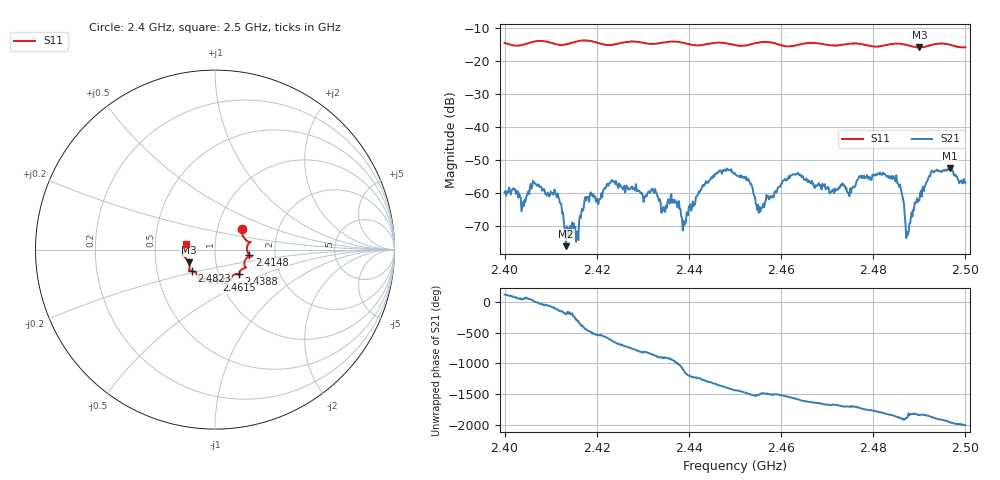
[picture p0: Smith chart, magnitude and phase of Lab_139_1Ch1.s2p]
# Hz S RI R 50
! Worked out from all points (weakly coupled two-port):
!   601 points, 2.4 GHz to 2.5 GHz, reference 50 ohm
!   highest |S21| = -52.29 dB at 2.4967 GHz (marker M1); lowest = -76.0 dB at 2.4133 GHz (marker M2)
!   lowest |S11| = -15.8 dB at 2.49 GHz (marker M3), VSWR 1.39, Z = 36.8 - j5.31 ohm
!   |S11| at or under -10 dB: start of sweep to end of sweep
!   S12 and S22 are empty: the file has one direction only
!   S11 on the Smith chart (normalised r, x): 2.4 GHz: 1.31, +0.32; 2.4148 GHz: 1.47, -0.10; 2.4388 GHz: 1.25, -0.36; 2.4615 GHz: 0.96, -0.34; 2.4823 GHz: 0.75, -0.18; 2.5 GHz: 0.72, +0.04
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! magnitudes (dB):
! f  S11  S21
! 2.4 GHz  -14.3  -59.7
! 2.4112 GHz  -14.8  -60.2
! 2.4133 GHz  -14.8  -76.0
! 2.4148 GHz  -14.2  -70.3
! 2.4167 GHz  -13.7  -65.6
! 2.4233 GHz  -15.0  -56.0
! 2.4333 GHz  -14.5  -61.2
! 2.4388 GHz  -14.4  -68.3
! 2.4433 GHz  -14.9  -57.3
! 2.45 GHz  -15.0  -53.9
! 2.4553 GHz  -14.2  -64.0
! 2.4615 GHz  -15.4  -55.6
! 2.4667 GHz  -14.3  -56.1
! 2.4748 GHz  -14.6  -60.9
! 2.4823 GHz  -15.2  -54.0
! 2.4833 GHz  -14.9  -55.3
! 2.4855 GHz  -14.6  -57.4
! 2.4875 GHz  -15.1  -72.5
! 2.49 GHz  -15.8  -62.1
! 2.493 GHz  -14.9  -53.5
! 2.4967 GHz  -14.9  -52.3
! 2.5 GHz  -15.7  -56.8
